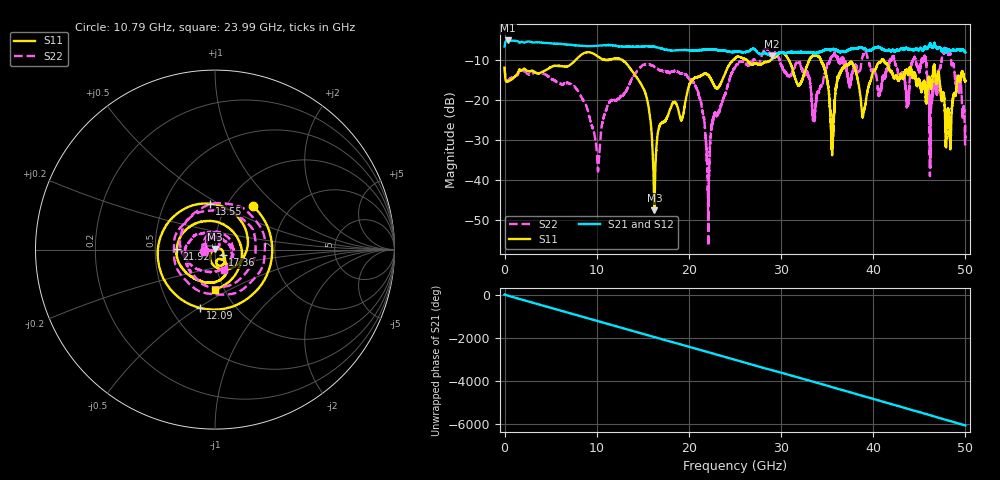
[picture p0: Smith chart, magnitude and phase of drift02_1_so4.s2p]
!Created with skrf (http://scikit-rf.org).
# Hz S RI R 50.0
!freq ReS11 ImS11 ReS21 ImS21 ReS12 ImS12 ReS22 ImS22
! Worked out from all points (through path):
!   10001 points, 300 kHz to 50 GHz, reference 50 ohm
!   highest |S21| = -5.04 dB at 375.3 MHz (marker M1); lowest = -8.9 dB at 28.98 GHz (marker M2)
!   group delay of S21, straight-line fit = 336 ps
!   lowest |S11| = -47.5 dB at 16.26 GHz (marker M3), VSWR 1.01, Z = 49.8 + j0.394 ohm
!   |S11| at or under -10 dB: start of sweep to 7.669 GHz; 12.81 GHz to 24.77 GHz (11.96 GHz wide, 63.6 % of centre); 41.13 GHz to end of sweep (the widest 3 of 13)
!   |S22| runs from -56.5 to -6.9 dB; largest |S21 - S12| = 0.031
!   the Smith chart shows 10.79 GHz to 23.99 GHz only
!   S11 on the Smith chart (normalised r, x): 10.79 GHz: 1.32, +0.71; 12.09 GHz: 0.69, -0.51; 13.55 GHz: 0.83, +0.45; 17.36 GHz: 1.09, -0.07; 21.92 GHz: 0.65, +0.00; 23.99 GHz: 0.90, -0.43
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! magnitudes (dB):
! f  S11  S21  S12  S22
! 300 kHz  -11.8  -6.5  -6.5  -11.7
! 375.3 MHz  -15.2  -5.0  -5.1  -15.0
! 8.335 GHz  -8.6  -6.4  -6.4  -19.2
! 10.11 GHz  -9.0  -6.4  -6.3  -36.9
! 10.79 GHz  -9.9  -6.2  -6.2  -23.8
! 12.09 GHz  -9.5  -6.4  -6.4  -20.1
! 13.55 GHz  -11.8  -6.6  -6.6  -15.9
! 16.26 GHz  -47.5  -6.6  -6.6  -11.6
! 16.67 GHz  -27.5  -6.8  -6.8  -12.2
! 17.36 GHz  -25.4  -7.3  -7.3  -12.6
! 20.75 GHz  -14.3  -7.5  -7.5  -16.8
! 21.92 GHz  -13.5  -7.3  -7.3  -32.0
! 23.99 GHz  -13.0  -7.7  -7.7  -18.3
! 25 GHz  -9.5  -7.9  -7.9  -11.8
! 28.98 GHz  -9.8  -8.9  -8.9  -8.2
! 33.34 GHz  -9.2  -8.0  -8.0  -20.4
! 35.54 GHz  -31.9  -7.3  -7.3  -9.0
! 36.81 GHz  -11.7  -7.9  -8.1  -10.1
! 41.67 GHz  -11.9  -7.4  -7.5  -11.6
! 46.25 GHz  -16.8  -6.1  -6.1  -22.7
! 48.13 GHz  -22.2  -7.2  -7.2  -8.4
! 50 GHz  -15.1  -8.0  -8.0  -26.4
